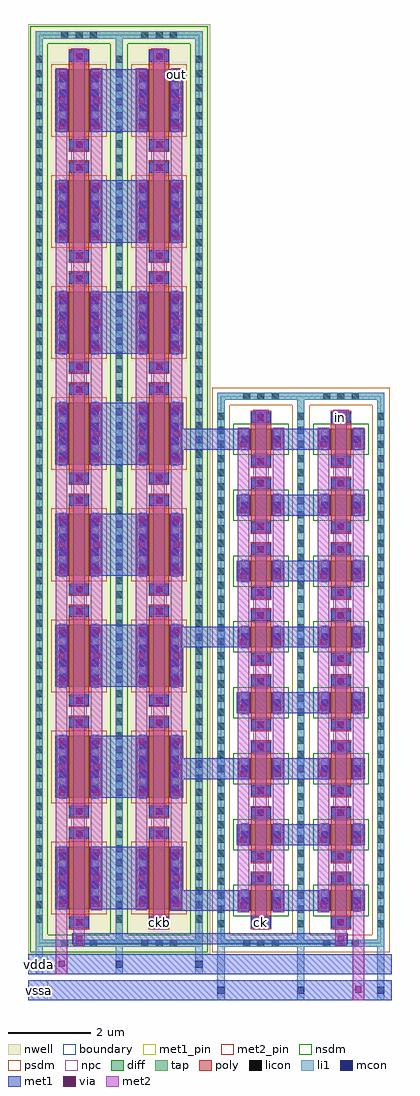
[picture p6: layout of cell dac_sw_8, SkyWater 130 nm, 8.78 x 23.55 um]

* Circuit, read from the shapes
.subckt dac_sw_8 ck ckb in out vdda vssa
XM1 n1 ck out vssa sky130_fd_pr__nfet_01v8 w=0.5 l=0.5 m=8
XM2 vssa in n1 vssa sky130_fd_pr__nfet_01v8 w=0.5 l=0.5 m=8
XM3 n2 in vdda vdda sky130_fd_pr__pfet_01v8 w=1.5 l=0.5 m=8
XM4 out ckb n2 vdda sky130_fd_pr__pfet_01v8 w=1.5 l=0.5 m=8
.ends

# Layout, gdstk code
import gdstk
lib = gdstk.Library(unit=1e-6, precision=1e-09)
def R(c, l, rs):  # rectangles x0, y0, x1, y1
    for r in rs: c.add(gdstk.rectangle(r[:2], r[2:], *l))
def A(c, l, x, y, w, h, nx, ny, dx, dy):  # array of equal rectangles
    R(c, l, [(x+i*dx, y+j*dy, x+i*dx+w, y+j*dy+h) for i in range(nx) for j in range(ny)])
nwell = (64, 20)
diff = (65, 20)
tap = (65, 44)
poly = (66, 20)
licon = (66, 44)
li1 = (67, 20)
mcon = (67, 44)
met1_pin = (68, 16)
met1 = (68, 20)
via = (68, 44)
met2_pin = (69, 16)
met2 = (69, 20)
nsdm = (93, 44)
psdm = (94, 20)
npc = (95, 20)
boundary = (235, 4)

sky130_fd_pr__nfet_01v8_ = lib.new_cell('sky130_fd_pr__nfet_01v8_KDBLWN')
A(sky130_fd_pr__nfet_01v8_, diff, -0.54, -5.815, 1.08, 0.5, 1, 8, 0, 1.59)
R(sky130_fd_pr__nfet_01v8_, tap, [(-1.05,-6.685,1.05,-6.515), (-1.05,-6.515,-0.88,6.515), (0.88,-6.515,1.05,6.515), (-1.05,6.515,1.05,6.685)])
A(sky130_fd_pr__nfet_01v8_, poly, -0.25, -6.255, 0.5, 1.38, 1, 8, 0, 1.59)
A(sky130_fd_pr__nfet_01v8_, licon, -0.425, -6.685, 0.17, 0.17, 3, 2, 0.34, 13.2)
A(sky130_fd_pr__nfet_01v8_, licon, -1.05, -6.205, 0.17, 0.17, 1, 37, 0, 0.34)
A(sky130_fd_pr__nfet_01v8_, licon, 0.88, -6.205, 0.17, 0.17, 1, 37, 0, 0.34)
A(sky130_fd_pr__nfet_01v8_, licon, -0.48, -5.65, 0.17, 0.17, 1, 8, 0, 1.59)
A(sky130_fd_pr__nfet_01v8_, licon, 0.31, -5.65, 0.17, 0.17, 1, 8, 0, 1.59)
R(sky130_fd_pr__nfet_01v8_, licon, [(-0.085,-6.175,0.085,-6.005), (-0.085,-5.125,0.085,-4.955), (-0.085,-4.585,0.085,-4.415), (-0.085,-3.535,0.085,-3.365), (-0.085,-2.995,0.085,-2.825), (-0.085,-1.945,0.085,-1.775), (-0.085,-1.405,0.085,-1.235), (-0.085,-0.355,0.085,-0.185), (-0.085,0.185,0.085,0.355), (-0.085,1.235,0.085,1.405), (-0.085,1.775,0.085,1.945), (-0.085,2.825,0.085,2.995), (-0.085,3.365,0.085,3.535), (-0.085,4.415,0.085,4.585), (-0.085,4.955,0.085,5.125), (-0.085,6.005,0.085,6.175)])
A(sky130_fd_pr__nfet_01v8_, li1, -0.48, -5.835, 0.17, 0.54, 1, 8, 0, 1.59)
A(sky130_fd_pr__nfet_01v8_, li1, 0.31, -5.835, 0.17, 0.54, 1, 8, 0, 1.59)
R(sky130_fd_pr__nfet_01v8_, li1, [(-1.05,-6.685,1.05,-6.515), (-1.05,-6.515,-0.88,6.515), (0.88,-6.515,1.05,6.515), (-0.25,-6.175,0.25,-6.005), (-0.25,-5.125,0.25,-4.955), (-0.25,-4.585,0.25,-4.415), (-0.25,-3.535,0.25,-3.365), (-0.25,-2.995,0.25,-2.825), (-0.25,-1.945,0.25,-1.775), (-0.25,-1.405,0.25,-1.235), (-0.25,-0.355,0.25,-0.185), (-0.25,0.185,0.25,0.355), (-0.25,1.235,0.25,1.405), (-0.25,1.775,0.25,1.945), (-0.25,2.825,0.25,2.995), (-0.25,3.365,0.25,3.535), (-0.25,4.415,0.25,4.585), (-0.25,4.955,0.25,5.125), (-0.25,6.005,0.25,6.175), (-1.05,6.515,1.05,6.685)])
A(sky130_fd_pr__nfet_01v8_, mcon, -0.48, -5.65, 0.17, 0.17, 1, 8, 0, 1.59)
A(sky130_fd_pr__nfet_01v8_, mcon, 0.31, -5.65, 0.17, 0.17, 1, 8, 0, 1.59)
R(sky130_fd_pr__nfet_01v8_, mcon, [(-0.085,-6.175,0.085,-6.005), (-0.085,-5.125,0.085,-4.955), (-0.085,-4.585,0.085,-4.415), (-0.085,-3.535,0.085,-3.365), (-0.085,-2.995,0.085,-2.825), (-0.085,-1.945,0.085,-1.775), (-0.085,-1.405,0.085,-1.235), (-0.085,-0.355,0.085,-0.185), (-0.085,0.185,0.085,0.355), (-0.085,1.235,0.085,1.405), (-0.085,1.775,0.085,1.945), (-0.085,2.825,0.085,2.995), (-0.085,3.365,0.085,3.535), (-0.085,4.415,0.085,4.585), (-0.085,4.955,0.085,5.125), (-0.085,6.005,0.085,6.175)])
A(sky130_fd_pr__nfet_01v8_, met1, -0.51, -5.815, 0.23, 0.5, 1, 8, 0, 1.59)
A(sky130_fd_pr__nfet_01v8_, met1, 0.28, -5.815, 0.23, 0.5, 1, 8, 0, 1.59)
R(sky130_fd_pr__nfet_01v8_, met1, [(-0.23,-6.205,0.23,-5.975), (-0.23,-5.155,0.23,-4.925), (-0.23,-4.615,0.23,-4.385), (-0.23,-3.565,0.23,-3.335), (-0.23,-3.025,0.23,-2.795), (-0.23,-1.975,0.23,-1.745), (-0.23,-1.435,0.23,-1.205), (-0.23,-0.385,0.23,-0.155), (-0.23,0.155,0.23,0.385), (-0.23,1.205,0.23,1.435), (-0.23,1.745,0.23,1.975), (-0.23,2.795,0.23,3.025), (-0.23,3.335,0.23,3.565), (-0.23,4.385,0.23,4.615), (-0.23,4.925,0.23,5.155), (-0.23,5.975,0.23,6.205)])
A(sky130_fd_pr__nfet_01v8_, nsdm, -0.665, -5.94, 1.33, 0.75, 1, 8, 0, 1.59)
R(sky130_fd_pr__nfet_01v8_, psdm, [(-1.175,-6.81,1.175,-6.39), (-1.175,-6.39,-0.755,6.39), (0.755,-6.39,1.175,6.39), (-1.175,6.39,1.175,6.81)])
A(sky130_fd_pr__nfet_01v8_, npc, -0.185, -5.225, 0.37, 0.91, 1, 7, 0, 1.59)
R(sky130_fd_pr__nfet_01v8_, npc, [(-0.185,-6.275,0.185,-5.905), (-0.185,5.905,0.185,6.275)])
R(sky130_fd_pr__nfet_01v8_, boundary, [(-0.965,-6.6,0.965,6.6)])

sky130_fd_pr__pfet_01v8_ = lib.new_cell('sky130_fd_pr__pfet_01v8_TMYUV5')
R(sky130_fd_pr__pfet_01v8_, nwell, [(-1.23,-11.225,1.23,11.225)])
A(sky130_fd_pr__pfet_01v8_, diff, -0.54, -10.13, 1.08, 1.5, 1, 8, 0, 2.68)
R(sky130_fd_pr__pfet_01v8_, tap, [(-1.05,-11.045,1.05,-10.875), (-1.05,-10.875,-0.88,10.875), (0.88,-10.875,1.05,10.875), (-1.05,10.875,1.05,11.045)])
A(sky130_fd_pr__pfet_01v8_, poly, -0.25, -10.615, 0.5, 2.47, 1, 8, 0, 2.68)
A(sky130_fd_pr__pfet_01v8_, licon, -0.425, -11.045, 0.17, 0.17, 3, 2, 0.34, 21.92)
A(sky130_fd_pr__pfet_01v8_, licon, -1.05, -10.455, 0.17, 0.17, 1, 62, 0, 0.34)
A(sky130_fd_pr__pfet_01v8_, licon, 0.88, -10.455, 0.17, 0.17, 1, 62, 0, 0.34)
A(sky130_fd_pr__pfet_01v8_, licon, -0.48, -9.975, 0.17, 0.17, 1, 4, 0, 0.34)
A(sky130_fd_pr__pfet_01v8_, licon, 0.31, -9.975, 0.17, 0.17, 1, 4, 0, 0.34)
A(sky130_fd_pr__pfet_01v8_, licon, -0.48, -7.295, 0.17, 0.17, 1, 4, 0, 0.34)
A(sky130_fd_pr__pfet_01v8_, licon, 0.31, -7.295, 0.17, 0.17, 1, 4, 0, 0.34)
A(sky130_fd_pr__pfet_01v8_, licon, -0.48, -4.615, 0.17, 0.17, 1, 4, 0, 0.34)
A(sky130_fd_pr__pfet_01v8_, licon, 0.31, -4.615, 0.17, 0.17, 1, 4, 0, 0.34)
A(sky130_fd_pr__pfet_01v8_, licon, -0.48, -1.935, 0.17, 0.17, 1, 4, 0, 0.34)
A(sky130_fd_pr__pfet_01v8_, licon, 0.31, -1.935, 0.17, 0.17, 1, 4, 0, 0.34)
A(sky130_fd_pr__pfet_01v8_, licon, -0.48, 0.745, 0.17, 0.17, 1, 4, 0, 0.34)
A(sky130_fd_pr__pfet_01v8_, licon, 0.31, 0.745, 0.17, 0.17, 1, 4, 0, 0.34)
A(sky130_fd_pr__pfet_01v8_, licon, -0.48, 3.425, 0.17, 0.17, 1, 4, 0, 0.34)
A(sky130_fd_pr__pfet_01v8_, licon, 0.31, 3.425, 0.17, 0.17, 1, 4, 0, 0.34)
A(sky130_fd_pr__pfet_01v8_, licon, -0.48, 6.105, 0.17, 0.17, 1, 4, 0, 0.34)
A(sky130_fd_pr__pfet_01v8_, licon, 0.31, 6.105, 0.17, 0.17, 1, 4, 0, 0.34)
A(sky130_fd_pr__pfet_01v8_, licon, -0.48, 8.785, 0.17, 0.17, 1, 4, 0, 0.34)
A(sky130_fd_pr__pfet_01v8_, licon, 0.31, 8.785, 0.17, 0.17, 1, 4, 0, 0.34)
R(sky130_fd_pr__pfet_01v8_, licon, [(-0.085,-10.535,0.085,-10.365), (-0.085,-8.395,0.085,-8.225), (-0.085,-7.855,0.085,-7.685), (-0.085,-5.715,0.085,-5.545), (-0.085,-5.175,0.085,-5.005), (-0.085,-3.035,0.085,-2.865), (-0.085,-2.495,0.085,-2.325), (-0.085,-0.355,0.085,-0.185), (-0.085,0.185,0.085,0.355), (-0.085,2.325,0.085,2.495), (-0.085,2.865,0.085,3.035), (-0.085,5.005,0.085,5.175), (-0.085,5.545,0.085,5.715), (-0.085,7.685,0.085,7.855), (-0.085,8.225,0.085,8.395), (-0.085,10.365,0.085,10.535)])
A(sky130_fd_pr__pfet_01v8_, li1, -0.48, -10.15, 0.17, 1.54, 1, 8, 0, 2.68)
A(sky130_fd_pr__pfet_01v8_, li1, 0.31, -10.15, 0.17, 1.54, 1, 8, 0, 2.68)
R(sky130_fd_pr__pfet_01v8_, li1, [(-1.05,-11.045,1.05,-10.875), (-1.05,-10.875,-0.88,10.875), (0.88,-10.875,1.05,10.875), (-0.25,-10.535,0.25,-10.365), (-0.25,-8.395,0.25,-8.225), (-0.25,-7.855,0.25,-7.685), (-0.25,-5.715,0.25,-5.545), (-0.25,-5.175,0.25,-5.005), (-0.25,-3.035,0.25,-2.865), (-0.25,-2.495,0.25,-2.325), (-0.25,-0.355,0.25,-0.185), (-0.25,0.185,0.25,0.355), (-0.25,2.325,0.25,2.495), (-0.25,2.865,0.25,3.035), (-0.25,5.005,0.25,5.175), (-0.25,5.545,0.25,5.715), (-0.25,7.685,0.25,7.855), (-0.25,8.225,0.25,8.395), (-0.25,10.365,0.25,10.535), (-1.05,10.875,1.05,11.045)])
A(sky130_fd_pr__pfet_01v8_, mcon, -0.48, -10.005, 0.17, 0.17, 1, 4, 0, 0.36)
A(sky130_fd_pr__pfet_01v8_, mcon, 0.31, -10.005, 0.17, 0.17, 1, 4, 0, 0.36)
A(sky130_fd_pr__pfet_01v8_, mcon, -0.48, -7.325, 0.17, 0.17, 1, 4, 0, 0.36)
A(sky130_fd_pr__pfet_01v8_, mcon, 0.31, -7.325, 0.17, 0.17, 1, 4, 0, 0.36)
A(sky130_fd_pr__pfet_01v8_, mcon, -0.48, -4.645, 0.17, 0.17, 1, 4, 0, 0.36)
A(sky130_fd_pr__pfet_01v8_, mcon, 0.31, -4.645, 0.17, 0.17, 1, 4, 0, 0.36)
A(sky130_fd_pr__pfet_01v8_, mcon, -0.48, -1.965, 0.17, 0.17, 1, 4, 0, 0.36)
A(sky130_fd_pr__pfet_01v8_, mcon, 0.31, -1.965, 0.17, 0.17, 1, 4, 0, 0.36)
A(sky130_fd_pr__pfet_01v8_, mcon, -0.48, 0.715, 0.17, 0.17, 1, 4, 0, 0.36)
A(sky130_fd_pr__pfet_01v8_, mcon, 0.31, 0.715, 0.17, 0.17, 1, 4, 0, 0.36)
A(sky130_fd_pr__pfet_01v8_, mcon, -0.48, 3.395, 0.17, 0.17, 1, 4, 0, 0.36)
A(sky130_fd_pr__pfet_01v8_, mcon, 0.31, 3.395, 0.17, 0.17, 1, 4, 0, 0.36)
A(sky130_fd_pr__pfet_01v8_, mcon, -0.48, 6.075, 0.17, 0.17, 1, 4, 0, 0.36)
A(sky130_fd_pr__pfet_01v8_, mcon, 0.31, 6.075, 0.17, 0.17, 1, 4, 0, 0.36)
A(sky130_fd_pr__pfet_01v8_, mcon, -0.48, 8.755, 0.17, 0.17, 1, 4, 0, 0.36)
A(sky130_fd_pr__pfet_01v8_, mcon, 0.31, 8.755, 0.17, 0.17, 1, 4, 0, 0.36)
R(sky130_fd_pr__pfet_01v8_, mcon, [(-0.085,-10.535,0.085,-10.365), (-0.085,-8.395,0.085,-8.225), (-0.085,-7.855,0.085,-7.685), (-0.085,-5.715,0.085,-5.545), (-0.085,-5.175,0.085,-5.005), (-0.085,-3.035,0.085,-2.865), (-0.085,-2.495,0.085,-2.325), (-0.085,-0.355,0.085,-0.185), (-0.085,0.185,0.085,0.355), (-0.085,2.325,0.085,2.495), (-0.085,2.865,0.085,3.035), (-0.085,5.005,0.085,5.175), (-0.085,5.545,0.085,5.715), (-0.085,7.685,0.085,7.855), (-0.085,8.225,0.085,8.395), (-0.085,10.365,0.085,10.535)])
A(sky130_fd_pr__pfet_01v8_, met1, -0.51, -10.13, 0.23, 1.5, 1, 8, 0, 2.68)
A(sky130_fd_pr__pfet_01v8_, met1, 0.28, -10.13, 0.23, 1.5, 1, 8, 0, 2.68)
R(sky130_fd_pr__pfet_01v8_, met1, [(-0.23,-10.565,0.23,-10.335), (-0.23,-8.425,0.23,-8.195), (-0.23,-7.885,0.23,-7.655), (-0.23,-5.745,0.23,-5.515), (-0.23,-5.205,0.23,-4.975), (-0.23,-3.065,0.23,-2.835), (-0.23,-2.525,0.23,-2.295), (-0.23,-0.385,0.23,-0.155), (-0.23,0.155,0.23,0.385), (-0.23,2.295,0.23,2.525), (-0.23,2.835,0.23,3.065), (-0.23,4.975,0.23,5.205), (-0.23,5.515,0.23,5.745), (-0.23,7.655,0.23,7.885), (-0.23,8.195,0.23,8.425), (-0.23,10.335,0.23,10.565)])
R(sky130_fd_pr__pfet_01v8_, nsdm, [(-1.175,-11.17,1.175,-10.75), (-1.175,-10.75,-0.755,10.75), (0.755,-10.75,1.175,10.75), (-1.175,10.75,1.175,11.17)])
A(sky130_fd_pr__pfet_01v8_, psdm, -0.665, -10.255, 1.33, 1.75, 1, 8, 0, 2.68)
A(sky130_fd_pr__pfet_01v8_, npc, -0.185, -8.495, 0.37, 0.91, 1, 7, 0, 2.68)
R(sky130_fd_pr__pfet_01v8_, npc, [(-0.185,-10.635,0.185,-10.265), (-0.185,10.265,0.185,10.635)])
R(sky130_fd_pr__pfet_01v8_, boundary, [(-0.965,-10.96,0.965,10.96)])

dac_sw_8 = lib.new_cell('dac_sw_8')
A(dac_sw_8, li1, 5.78, -11.805, 0.17, 1.45, 3, 1, 1.93, 0)
A(dac_sw_8, li1, 1.39, -11.185, 0.17, 0.83, 3, 1, 1.93, 0)
A(dac_sw_8, mcon, 5.78, -11.65, 0.17, 0.17, 3, 1, 1.93, 0)
A(dac_sw_8, mcon, 1.39, -11.03, 0.17, 0.17, 3, 1, 1.93, 0)
R(dac_sw_8, met1_pin, [(1.21,-11.805,1.69,-11.325), (1.21,-11.185,1.69,-10.705)])
A(dac_sw_8, met1, 4.63, -9.655, 1.94, 0.5, 1, 3, 0, 3.18)
A(dac_sw_8, met1, 7.09, -9.655, 1.41, 0.5, 1, 8, 0, 1.59)
A(dac_sw_8, met1, 9.02, -9.655, 0.32, 0.5, 1, 8, 0, 1.59)
A(dac_sw_8, met1, 1.86, -9.61, 0.32, 1.5, 1, 8, 0, 2.68)
A(dac_sw_8, met1, 2.7, -9.61, 1.41, 1.5, 1, 8, 0, 2.68)
A(dac_sw_8, met1, 6.25, -8.065, 0.32, 0.5, 1, 3, 0, 3.18)
A(dac_sw_8, met1, 4.63, 3.79, 0.32, 1.5, 1, 3, 0, 2.68)
R(dac_sw_8, met1, [(1.21,-11.805,9.99,-11.325), (1.21,-11.185,9.99,-10.705), (2.28,-10.46,8.92,-10.2), (2.21,-10.06,2.67,-9.8), (4.14,-10.06,4.6,-9.8), (6.6,-10.06,7.06,-9.8), (8.53,-10.06,8.99,-9.8), (4.63,-9.155,4.95,-8.11), (6.6,-9.01,7.06,-8.75), (8.525,-9.01,8.985,-8.75), (6.6,-8.47,7.06,-8.21), (8.53,-8.47,8.99,-8.21), (2.21,-7.92,2.67,-7.66), (4.14,-7.92,4.6,-7.66), (6.605,-7.42,7.065,-7.16), (8.53,-7.42,8.99,-7.16), (2.21,-7.38,2.67,-7.12), (4.14,-7.38,4.6,-7.12), (4.63,-6.93,4.95,-6.475), (6.6,-6.88,7.06,-6.62), (8.53,-6.88,8.99,-6.62), (4.63,-5.975,4.95,-5.43), (6.6,-5.83,7.06,-5.57), (8.53,-5.83,8.99,-5.57), (6.6,-5.29,7.06,-5.03), (8.53,-5.29,8.99,-5.03), (2.21,-5.24,2.67,-4.98), (4.14,-5.24,4.6,-4.98), (2.21,-4.7,2.67,-4.44), (4.14,-4.7,4.6,-4.44), (4.63,-4.25,4.95,-3.295), (6.6,-4.24,7.06,-3.98), (8.53,-4.24,8.99,-3.98), (6.6,-3.7,7.06,-3.44), (8.53,-3.7,8.99,-3.44), (4.63,-2.795,4.95,-2.75), (6.6,-2.65,7.06,-2.39), (8.525,-2.65,8.985,-2.39), (2.21,-2.56,2.67,-2.3), (4.14,-2.56,4.6,-2.3), (6.6,-2.11,7.06,-1.85), (8.53,-2.11,8.99,-1.85), (2.21,-2.02,2.67,-1.76), (4.14,-2.02,4.6,-1.76), (4.63,-1.57,4.95,-0.07), (6.605,-1.06,7.065,-0.8), (8.53,-1.06,8.99,-0.8), (6.6,-0.52,7.06,-0.26), (8.53,-0.52,8.99,-0.26), (6.25,-0.115,6.57,0.385), (2.21,0.12,2.67,0.38), (4.14,0.12,4.6,0.38), (6.6,0.53,7.06,0.79), (8.53,0.53,8.99,0.79), (2.21,0.66,2.67,0.92), (4.14,0.66,4.6,0.92), (6.6,1.07,7.06,1.33), (8.53,1.07,8.99,1.33), (4.63,1.11,4.95,1.475), (4.63,1.475,6.57,1.975), (4.63,1.975,4.95,2.61), (6.6,2.12,7.06,2.38), (8.53,2.12,8.99,2.38), (2.21,2.8,2.67,3.06), (4.14,2.8,4.6,3.06), (2.21,3.34,2.67,3.6), (4.14,3.34,4.6,3.6), (2.21,5.48,2.67,5.74), (4.14,5.48,4.6,5.74), (2.21,6.02,2.67,6.28), (4.14,6.02,4.6,6.28), (2.21,8.16,2.67,8.42), (4.14,8.16,4.6,8.42), (2.21,8.7,2.67,8.96), (4.14,8.7,4.6,8.96), (2.21,10.84,2.67,11.1), (4.14,10.84,4.6,11.1)])
A(dac_sw_8, via, 6.335, -9.6, 0.15, 0.15, 1, 8, 0, 1.59)
A(dac_sw_8, via, 7.175, -9.6, 0.15, 0.15, 1, 8, 0, 1.59)
A(dac_sw_8, via, 8.265, -9.6, 0.15, 0.15, 1, 8, 0, 1.59)
A(dac_sw_8, via, 9.105, -9.6, 0.15, 0.15, 1, 8, 0, 1.59)
A(dac_sw_8, via, 1.945, -9.555, 0.15, 0.15, 1, 3, 0, 0.62)
A(dac_sw_8, via, 2.785, -9.555, 0.15, 0.15, 1, 3, 0, 0.62)
A(dac_sw_8, via, 3.875, -9.555, 0.15, 0.15, 1, 3, 0, 0.62)
A(dac_sw_8, via, 4.715, -9.555, 0.15, 0.15, 1, 3, 0, 0.62)
A(dac_sw_8, via, 1.945, -6.875, 0.15, 0.15, 1, 3, 0, 0.62)
A(dac_sw_8, via, 2.785, -6.875, 0.15, 0.15, 1, 3, 0, 0.62)
A(dac_sw_8, via, 3.875, -6.875, 0.15, 0.15, 1, 3, 0, 0.62)
A(dac_sw_8, via, 4.715, -6.875, 0.15, 0.15, 1, 3, 0, 0.62)
A(dac_sw_8, via, 1.945, -4.195, 0.15, 0.15, 1, 3, 0, 0.62)
A(dac_sw_8, via, 2.785, -4.195, 0.15, 0.15, 1, 3, 0, 0.62)
A(dac_sw_8, via, 3.875, -4.195, 0.15, 0.15, 1, 3, 0, 0.62)
A(dac_sw_8, via, 4.715, -4.195, 0.15, 0.15, 1, 3, 0, 0.62)
A(dac_sw_8, via, 1.945, -1.515, 0.15, 0.15, 1, 3, 0, 0.62)
A(dac_sw_8, via, 2.785, -1.515, 0.15, 0.15, 1, 3, 0, 0.62)
A(dac_sw_8, via, 3.875, -1.515, 0.15, 0.15, 1, 3, 0, 0.62)
A(dac_sw_8, via, 4.715, -1.515, 0.15, 0.15, 1, 3, 0, 0.62)
A(dac_sw_8, via, 1.945, 1.165, 0.15, 0.15, 1, 3, 0, 0.62)
A(dac_sw_8, via, 2.785, 1.165, 0.15, 0.15, 1, 3, 0, 0.62)
A(dac_sw_8, via, 3.875, 1.165, 0.15, 0.15, 1, 3, 0, 0.62)
A(dac_sw_8, via, 4.715, 1.165, 0.15, 0.15, 1, 3, 0, 0.62)
A(dac_sw_8, via, 1.945, 3.845, 0.15, 0.15, 1, 3, 0, 0.62)
A(dac_sw_8, via, 2.785, 3.845, 0.15, 0.15, 1, 3, 0, 0.62)
A(dac_sw_8, via, 3.875, 3.845, 0.15, 0.15, 1, 3, 0, 0.62)
A(dac_sw_8, via, 4.715, 3.845, 0.15, 0.15, 1, 3, 0, 0.62)
A(dac_sw_8, via, 1.945, 6.525, 0.15, 0.15, 1, 3, 0, 0.62)
A(dac_sw_8, via, 2.785, 6.525, 0.15, 0.15, 1, 3, 0, 0.62)
A(dac_sw_8, via, 3.875, 6.525, 0.15, 0.15, 1, 3, 0, 0.62)
A(dac_sw_8, via, 4.715, 6.525, 0.15, 0.15, 1, 3, 0, 0.62)
A(dac_sw_8, via, 1.945, 9.205, 0.15, 0.15, 1, 3, 0, 0.62)
A(dac_sw_8, via, 2.785, 9.205, 0.15, 0.15, 1, 3, 0, 0.62)
A(dac_sw_8, via, 3.875, 9.205, 0.15, 0.15, 1, 3, 0, 0.62)
A(dac_sw_8, via, 4.715, 9.205, 0.15, 0.15, 1, 3, 0, 0.62)
R(dac_sw_8, via, [(9.105,-11.625,9.255,-11.475), (1.945,-11.005,2.095,-10.855), (2.365,-10.405,2.515,-10.255), (8.685,-10.405,8.835,-10.255), (2.365,-10.005,2.515,-9.855), (4.295,-10.005,4.445,-9.855), (6.755,-10.005,6.905,-9.855), (8.685,-10.005,8.835,-9.855), (6.755,-8.955,6.905,-8.805), (8.685,-8.955,8.835,-8.805), (6.755,-8.415,6.905,-8.265), (8.685,-8.415,8.835,-8.265), (2.365,-7.865,2.515,-7.715), (4.295,-7.865,4.445,-7.715), (6.755,-7.365,6.905,-7.215), (8.685,-7.365,8.835,-7.215), (2.365,-7.325,2.515,-7.175), (4.295,-7.325,4.445,-7.175), (6.755,-6.825,6.905,-6.675), (8.685,-6.825,8.835,-6.675), (6.755,-5.775,6.905,-5.625), (8.685,-5.775,8.835,-5.625), (6.755,-5.235,6.905,-5.085), (8.685,-5.235,8.835,-5.085), (2.365,-5.185,2.515,-5.035), (4.295,-5.185,4.445,-5.035), (2.365,-4.645,2.515,-4.495), (4.295,-4.645,4.445,-4.495), (6.755,-4.185,6.905,-4.035), (8.685,-4.185,8.835,-4.035), (6.755,-3.645,6.905,-3.495), (8.685,-3.645,8.835,-3.495), (6.755,-2.595,6.905,-2.445), (8.685,-2.595,8.835,-2.445), (2.365,-2.505,2.515,-2.355), (4.295,-2.505,4.445,-2.355), (6.755,-2.055,6.905,-1.905), (8.685,-2.055,8.835,-1.905), (2.365,-1.965,2.515,-1.815), (4.295,-1.965,4.445,-1.815), (6.755,-1.005,6.905,-0.855), (8.685,-1.005,8.835,-0.855), (6.755,-0.465,6.905,-0.315), (8.685,-0.465,8.835,-0.315), (2.365,0.175,2.515,0.325), (4.295,0.175,4.445,0.325), (6.755,0.585,6.905,0.735), (8.685,0.585,8.835,0.735), (2.365,0.715,2.515,0.865), (4.295,0.715,4.445,0.865), (6.755,1.125,6.905,1.275), (8.685,1.125,8.835,1.275), (6.755,2.175,6.905,2.325), (8.685,2.175,8.835,2.325), (2.365,2.855,2.515,3.005), (4.295,2.855,4.445,3.005), (2.365,3.395,2.515,3.545), (4.295,3.395,4.445,3.545), (2.365,5.535,2.515,5.685), (4.295,5.535,4.445,5.685), (2.365,6.075,2.515,6.225), (4.295,6.075,4.445,6.225), (2.365,8.215,2.515,8.365), (4.295,8.215,4.445,8.365), (2.365,8.755,2.515,8.905), (4.295,8.755,4.445,8.905), (2.365,10.895,2.515,11.045), (4.295,10.895,4.445,11.045)])
R(dac_sw_8, met2_pin, [(4.24,-10.06,4.5,-9.8), (6.7,-10.06,6.96,-9.8), (8.63,2.12,8.89,2.38), (4.66,10.39,4.92,10.65)])
R(dac_sw_8, met2, [(9.04,-11.805,9.32,2.005), (1.88,-11.185,2.16,10.68), (2.3,-10.49,2.58,11.13), (8.62,-10.49,8.9,2.41), (4.23,-10.09,4.51,11.13), (6.69,-10.09,6.97,2.41), (6.27,-9.685,6.55,2.005), (7.11,-9.685,7.39,2.005), (8.2,-9.685,8.48,2.005), (2.72,-9.64,3,10.68), (3.81,-9.64,4.09,10.68), (4.65,-9.64,4.93,10.68)])
dac_sw_8.add(gdstk.Reference(sky130_fd_pr__nfet_01v8_, (8.76,-3.84)))
dac_sw_8.add(gdstk.Reference(sky130_fd_pr__nfet_01v8_, (6.83,-3.84)))
dac_sw_8.add(gdstk.Reference(sky130_fd_pr__pfet_01v8_, (4.37,0.52)))
dac_sw_8.add(gdstk.Reference(sky130_fd_pr__pfet_01v8_, (2.44,0.52)))
dac_sw_8.add(gdstk.Label('vdda', (1.45,-10.945), layer=68, texttype=5))
dac_sw_8.add(gdstk.Label('in', (8.76,2.25), layer=69, texttype=5))
dac_sw_8.add(gdstk.Label('ck', (6.83,-9.93), layer=69, texttype=5))
dac_sw_8.add(gdstk.Label('ckb', (4.37,-9.93), layer=69, texttype=5))
dac_sw_8.add(gdstk.Label('vssa', (1.45,-11.565), layer=68, texttype=5))
dac_sw_8.add(gdstk.Label('out', (4.79,10.52), layer=69, texttype=5))

lib.write_gds('dac_sw_8.gds')
